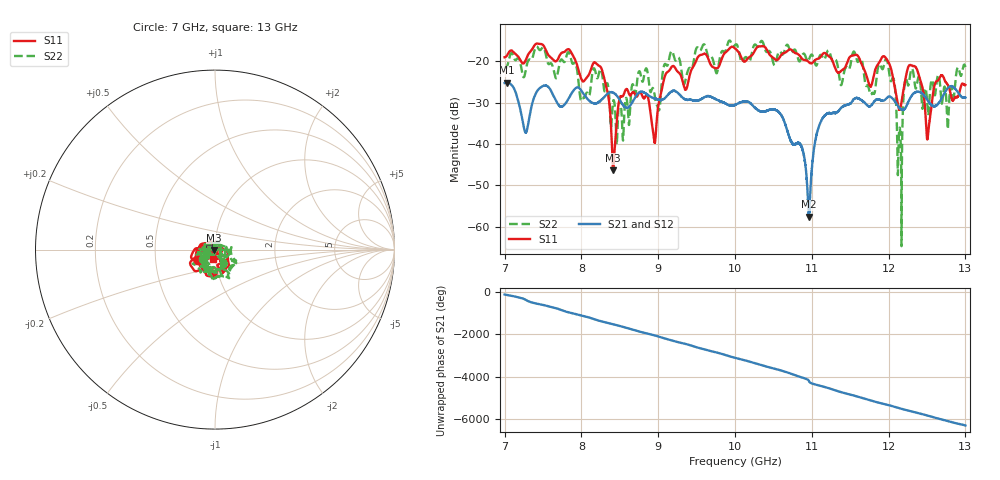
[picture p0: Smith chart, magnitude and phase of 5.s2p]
[Version] 2.0
! Rohde & Schwarz Vector Network Analyzer
! Rohde-Schwarz,ZNL20-2Port,1323001220200009,1.71.1.10-23.02.1.238
! Port Assignments:
! Nominal Port -> Actual Test Port
!  1 -> 1
!  2 -> 2
! Created: GMT+3 2024-09-24 15:08:36
# Hz S DB R 50
[Number of Ports] 2
[Two-Port Data Order] 21_12
! freq[Hz]  S11[mag dB]  S11[ang]  S21[mag dB]  S21[ang]  S12[mag dB]  S12[ang]  S22[mag dB]  S22[ang]
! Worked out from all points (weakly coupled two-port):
!   6001 points, 7 GHz to 13 GHz, reference 50 ohm
!   highest |S21| = -25.16 dB at 7.031 GHz (marker M1); lowest = -57.6 dB at 10.96 GHz (marker M2)
!   lowest |S11| = -46.4 dB at 8.415 GHz (marker M3), VSWR 1.01, Z = 49.6 - j0.189 ohm
!   |S11| at or under -10 dB: start of sweep to end of sweep
!   |S22| runs from -64.7 to -15.0 dB; largest |S21 - S12| = 0.00073
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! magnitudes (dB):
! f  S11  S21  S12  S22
! 7 GHz  -19.0  -25.3  -25.3  -21.3
! 7.031 GHz  -18.6  -25.2  -25.2  -21.3
! 7.275 GHz  -19.7  -37.2  -37.4  -22.2
! 7.834 GHz  -17.1  -29.0  -29.0  -17.8
! 8 GHz  -24.3  -27.1  -27.1  -29.4
! 8.262 GHz  -21.8  -29.3  -29.3  -22.4
! 8.415 GHz  -46.4  -27.6  -27.6  -29.6
! 8.576 GHz  -26.9  -31.2  -31.2  -29.1
! 8.841 GHz  -28.3  -27.8  -27.9  -21.7
! 9 GHz  -30.9  -29.2  -29.3  -31.4
! 9.172 GHz  -21.4  -27.3  -27.3  -17.6
! 10 GHz  -16.9  -30.5  -30.5  -16.1
! 10.58 GHz  -19.0  -32.6  -32.6  -17.6
! 10.96 GHz  -20.3  -57.6  -56.6  -19.5
! 11 GHz  -20.5  -46.0  -46.1  -18.4
! 11.17 GHz  -18.0  -33.1  -33.1  -19.4
! 12 GHz  -20.3  -28.6  -28.6  -21.8
! 12.14 GHz  -31.7  -31.3  -31.4  -36.1
! 12.3 GHz  -21.0  -28.4  -28.4  -21.9
! 12.51 GHz  -38.2  -29.5  -29.5  -32.2
! 12.67 GHz  -23.9  -29.7  -29.7  -25.2
! 13 GHz  -25.7  -28.8  -28.7  -21.4
